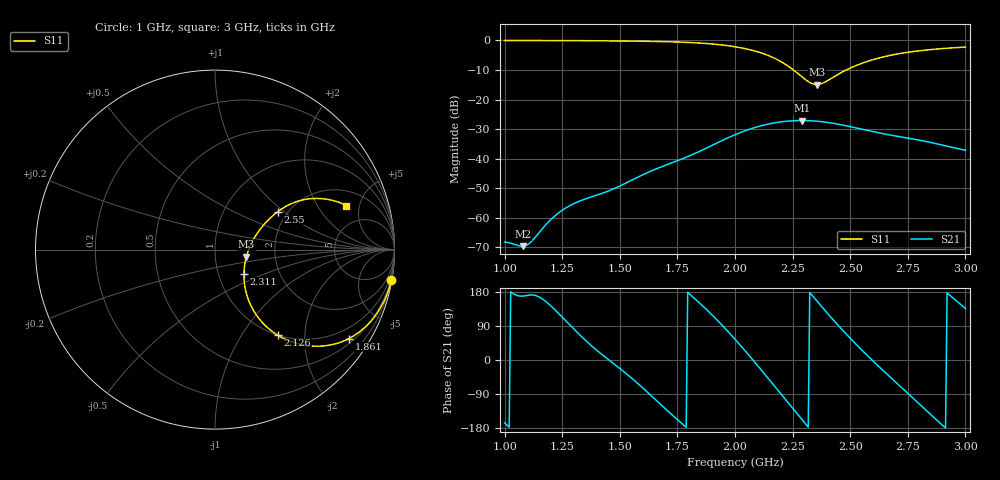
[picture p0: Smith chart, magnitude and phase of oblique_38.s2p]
! TOUCHSTONE file generated by CST MICROWAVE STUDIO
! Date and time: Tue Mar 18 00:01:01 2025
! Project name: oblique.cst
! Parameters = {Tilt=30; Fracture=1; B=10; D=160; F=25; Feed=2.85625; L=100; M=10; R=0.384908; S=1; Theta=180; length=57.125; wave=114.25}
! Header version: 2024
! Port assignment regex: !\s*Touchstone port\s*([0-9]+)\s*=\s*(CST MWS port|CST DES external port|CST DES block port)\s*(.+)\s* \(\"(.*)\"\)(\s*mode\s*([0-9]+))?.*
! Touchstone port assignment:
! Touchstone port 1 = CST MWS port 1 ("")
! Touchstone port 2 = CST MWS port 2 ("")
# GHz S DB R 50
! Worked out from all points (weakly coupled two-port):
!   303 points, 1 GHz to 3 GHz, reference 50 ohm
!   highest |S21| = -27.09 dB at 2.291 GHz (marker M1); lowest = -69.6 dB at 1.079 GHz (marker M2)
!   lowest |S11| = -14.9 dB at 2.358 GHz (marker M3), VSWR 1.44, Z = 71 - j5.68 ohm
!   |S11| at or under -10 dB: 2.254 GHz to 2.482 GHz (228.8 MHz wide, 9.66 % of centre)
!   S12 and S22 are empty: the file has one direction only
!   S11 on the Smith chart (normalised r, x): 1 GHz: 0, -12; 1.861 GHz: 0.64, -3.19; 2.126 GHz: 1.00, -1.47; 2.311 GHz: 1.33, -0.37; 2.55 GHz: 1.78, +0.90; 3 GHz: 3.06, +3.70
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1  -0.02 -9.8  -68.17 -165.7  -200.00 0.0  -200.00 0.0
1.07947  -0.03 -10.9  -69.57 168.7  -200.00 0.0  -200.00 0.0
1.11258  -0.03 -11.4  -68.27 171.6  -200.00 0.0  -200.00 0.0
1.18543  -0.05 -12.5  -61.76 151.1  -200.00 0.0  -200.00 0.0
1.23179  -0.06 -13.3  -58.47 124.4  -200.00 0.0  -200.00 0.0
1.33775  -0.09 -15.3  -53.95 59.4  -200.00 0.0  -200.00 0.0
1.46358  -0.16 -18.1  -50.50 -5.0  -200.00 0.0  -200.00 0.0
1.66887  -0.38 -24.3  -43.10 -112.5  -200.00 0.0  -200.00 0.0
1.86093  -0.96 -33.6  -36.97 142.1  -200.00 0.0  -200.00 0.0
2  -2.15 -43.6  -31.89 54.8  -200.00 0.0  -200.00 0.0
2.12583  -4.55 -53.7  -28.61 -35.0  -200.00 0.0  -200.00 0.0
2.21192  -7.75 -57.7  -27.42 -98.9  -200.00 0.0  -200.00 0.0
2.29139  -12.37 -47.5  -27.09 -157.8  -200.00 0.0  -200.00 0.0
2.31126  -13.57 -39.7  -27.11 -172.3  -200.00 0.0  -200.00 0.0
2.33775  -14.71 -25.1  -27.21 168.4  -200.00 0.0  -200.00 0.0
2.35762  -14.93 -12.5  -27.33 154.2  -200.00 0.0  -200.00 0.0
2.39073  -14.09 6.1  -27.62 130.7  -200.00 0.0  -200.00 0.0
2.45033  -11.33 23.7  -28.37 89.9  -200.00 0.0  -200.00 0.0
2.54967  -7.78 31.1  -30.02 26.6  -200.00 0.0  -200.00 0.0
2.66887  -5.13 29.8  -31.93 -42.4  -200.00 0.0  -200.00 0.0
2.82119  -3.33 24.3  -34.05 -128.4  -200.00 0.0  -200.00 0.0
3  -2.26 18.5  -37.14 136.2  -200.00 0.0  -200.00 0.0
